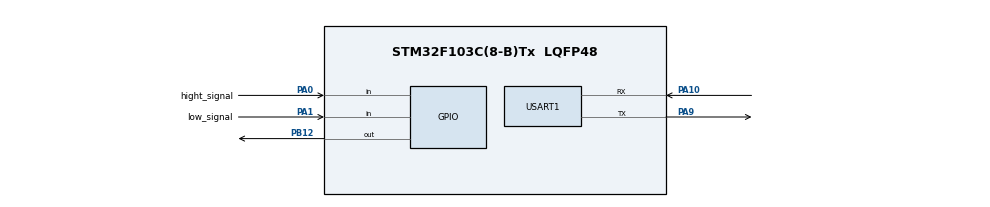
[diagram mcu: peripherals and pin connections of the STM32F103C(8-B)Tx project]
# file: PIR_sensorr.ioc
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Mcu.Family=STM32F1
Mcu.Name=STM32F103C(8-B)Tx
Mcu.Package=LQFP48
NVIC.PriorityGroup=NVIC_PRIORITYGROUP_4
NVIC.USART1_IRQn=true\:0\:0\:false\:false\:true\:true\:true\:true
PA0-WKUP.GPIO_Label=hight_signal
PA0-WKUP.Signal=GPIO_Input
PA1.GPIO_Label=low_signal
PA1.Signal=GPIO_Input
PA10.Mode=Asynchronous
PA10.Signal=USART1_RX
PA13.Mode=Serial_Wire
PA13.Signal=SYS_JTMS-SWDIO
PA14.Mode=Serial_Wire
PA14.Signal=SYS_JTCK-SWCLK
PA9.Mode=Asynchronous
PA9.Signal=USART1_TX
PB12.Signal=GPIO_Output
ProjectManager.HeapSize=0x200
ProjectManager.StackSize=0x400
ProjectManager.TargetToolchain=STM32CubeIDE
RCC.APB1Freq_Value=8000000
RCC.APB2Freq_Value=8000000
USART1.VirtualMode=VM_ASYNC
board=custom

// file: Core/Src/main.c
/* USER CODE BE00N Header */
/**
  ******************************************************************************
  * @file           : main.c
  * @brief          : Main program body
  ******************************************************************************
  * @attention
  *
  * Copyright (c) 2022 STMicroelectronics.
  * All rights reserved.
  *
  * This software is licensed under terms that can be found in the LICENSE file
  * in the root directory of this software component.
  * If no LICENSE file comes with this software, it is provided AS-IS.
  *
  ******************************************************************************
  */
/* USER CODE END Header */
#include "main.h"

/* USER CODE BEGIN Includes */
unsigned char motionFlag = 0;
/* USER CODE END Includes */

UART_HandleTypeDef huart1;

void SystemClock_Config(void);
static void MX_GPIO_Init(void);
static void MX_USART1_UART_Init(void);
/* USER CODE BEGIN PFP */
int A=0,B=0,flag_hight,flag_low;
int settime = 100;
int De_lay = 2000;
uint8_t data_rx[5];
unsigned short dataTime=0;
/* USER CODE END PFP */

/* USER CODE BEGIN 0 */

//void receive_data (uint8_t c) {
//
//	if(c==' '){
//		De_lay = 0;
//		for(int i=0;i<data_length;i++){
//			data_length--;
//			De_lay=De_lay + data_number[i]*pow(10,data_length);
//		}
//
//	}
//	else{
//		int number;
//		number= (int)c-48;
//		data_number[data_length++]=number;
//	}
//	//	dem--;
////	De_lay= number*pow(10,dem);
//
//}
void receive_data (uint8_t *p) {
	dataTime= *(p+1)<<8|*(p+2);
	if(*p == 0x55){
		 De_lay=(int)dataTime;
	}else if(*p == 0xAA){
		 De_lay=(int)dataTime*1000;
	}

}
int check_cdhight (int hight) {
	 if (hight == 1){
		  A ++;
		  if (A > settime ){
        return 1;
      }
	  }
    else if (hight == 0) {
		  A = 0;
		  return 0;
	  }
}

 int check_cdlow (int low) {
	 if (low == 1){
		  B++;
		  if (B > settime ){
        return 1;
      }
	  }
    else if (low == 0) {
		  B = 0;
		  return 0;
	  }

}

//unsigned int cnterTick = 0;
/* USER CODE END 0 */

int main(void)
{

  /* MCU Configuration--------------------------------------------------------*/

  /* Reset of all peripherals, Initializes the Flash interface and the Systick. */
  HAL_Init();

  /* Configure the system clock */
  SystemClock_Config();

  /* Initialize all configured peripherals */
  MX_GPIO_Init();
  MX_USART1_UART_Init();
  /* USER CODE BEGIN 2 */
  HAL_UART_Receive_IT(&huart1, &data_rx, 3);
  /* USER CODE END 2 */

  /* Infinite loop */
  /* USER CODE BEGIN WHILE */
  unsigned int timeLine = 0;
  while (1)
  {

    //HAL_GetTick()
	  //cnterTick++;

//	  if(cnterTick >= 450000){
//		  cnterTick = 0;
//
//	  }

    /* USER CODE END WHILE */

    /* USER CODE BEGIN 3 */
    if(HAL_GetTick() - timeLine >= 4){
      timeLine = HAL_GetTick();
        int hight,low;
        hight = HAL_GPIO_ReadPin(GPIOA, GPIO_PIN_0);
        low =  HAL_GPIO_ReadPin(GPIOA, GPIO_PIN_1);

        flag_hight = check_cdhight(hight);
        flag_low = check_cdlow(low);

        if( flag_hight == 1 &&  flag_low  == 1) {
            motionFlag = 1;
          }else{
            motionFlag  = 0;
          }

          if(motionFlag){
              HAL_GPIO_WritePin(GPIOB, GPIO_PIN_12,GPIO_PIN_RESET);
              HAL_Delay(De_lay);
              flag_hight = 0;
              flag_low = 0;
          }
          else {
              HAL_GPIO_WritePin(GPIOB, GPIO_PIN_12,GPIO_PIN_SET);
          }
    }

  }
  /* USER CODE END 3 */
}
void HAL_UART_RxCpltCallback(UART_HandleTypeDef *huart)
{
  if(huart->Instance == huart1.Instance){
	  receive_data (&data_rx[0]);
	  HAL_UART_Receive_IT(&huart1, data_rx, 3);

  }
}

void SystemClock_Config(void)
{
  RCC_OscInitTypeDef RCC_OscInitStruct = {0};
  RCC_ClkInitTypeDef RCC_ClkInitStruct = {0};

  /** Initializes the RCC Oscillators according to the specified parameters
  * in the RCC_OscInitTypeDef structure.
  */
  RCC_OscInitStruct.OscillatorType = RCC_OSCILLATORTYPE_HSI;
  RCC_OscInitStruct.HSIState = RCC_HSI_ON;
  RCC_OscInitStruct.HSICalibrationValue = RCC_HSICALIBRATION_DEFAULT;
  RCC_OscInitStruct.PLL.PLLState = RCC_PLL_NONE;
  if (HAL_RCC_OscConfig(&RCC_OscInitStruct) != HAL_OK)
  {
    Error_Handler();
  }

  /** Initializes the CPU, AHB and APB buses clocks
  */
  RCC_ClkInitStruct.ClockType = RCC_CLOCKTYPE_HCLK|RCC_CLOCKTYPE_SYSCLK
                              |RCC_CLOCKTYPE_PCLK1|RCC_CLOCKTYPE_PCLK2;
  RCC_ClkInitStruct.SYSCLKSource = RCC_SYSCLKSOURCE_HSI;
  RCC_ClkInitStruct.AHBCLKDivider = RCC_SYSCLK_DIV1;
  RCC_ClkInitStruct.APB1CLKDivider = RCC_HCLK_DIV1;
  RCC_ClkInitStruct.APB2CLKDivider = RCC_HCLK_DIV1;

  if (HAL_RCC_ClockConfig(&RCC_ClkInitStruct, FLASH_LATENCY_0) != HAL_OK)
  {
    Error_Handler();
  }
}

static void MX_USART1_UART_Init(void)
{

  huart1.Instance = USART1;
  huart1.Init.BaudRate = 115200;
  huart1.Init.WordLength = UART_WORDLENGTH_8B;
  huart1.Init.StopBits = UART_STOPBITS_1;
  huart1.Init.Parity = UART_PARITY_NONE;
  huart1.Init.Mode = UART_MODE_TX_RX;
  huart1.Init.HwFlowCtl = UART_HWCONTROL_NONE;
  huart1.Init.OverSampling = UART_OVERSAMPLING_16;
  if (HAL_UART_Init(&huart1) != HAL_OK)
  {
    Error_Handler();
  }

}

static void MX_GPIO_Init(void)
{
  GPIO_InitTypeDef GPIO_InitStruct = {0};

  /* GPIO Ports Clock Enable */
  __HAL_RCC_GPIOA_CLK_ENABLE();
  __HAL_RCC_GPIOB_CLK_ENABLE();

  /*Configure GPIO pin Output Level */
  HAL_GPIO_WritePin(GPIOB, GPIO_PIN_12, GPIO_PIN_RESET);

  /*Configure GPIO pins : hight_signal_Pin low_signal_Pin */
  GPIO_InitStruct.Pin = hight_signal_Pin|low_signal_Pin;
  GPIO_InitStruct.Mode = GPIO_MODE_INPUT;
  GPIO_InitStruct.Pull = GPIO_NOPULL;
  HAL_GPIO_Init(GPIOA, &GPIO_InitStruct);

  /*Configure GPIO pin : PB12 */
  GPIO_InitStruct.Pin = GPIO_PIN_12;
  GPIO_InitStruct.Mode = GPIO_MODE_OUTPUT_PP;
  GPIO_InitStruct.Pull = GPIO_NOPULL;
  GPIO_InitStruct.Speed = GPIO_SPEED_FREQ_LOW;
  HAL_GPIO_Init(GPIOB, &GPIO_InitStruct);

}

void Error_Handler(void)
{
  __disable_irq();
  while (1)
  {
  }
}
